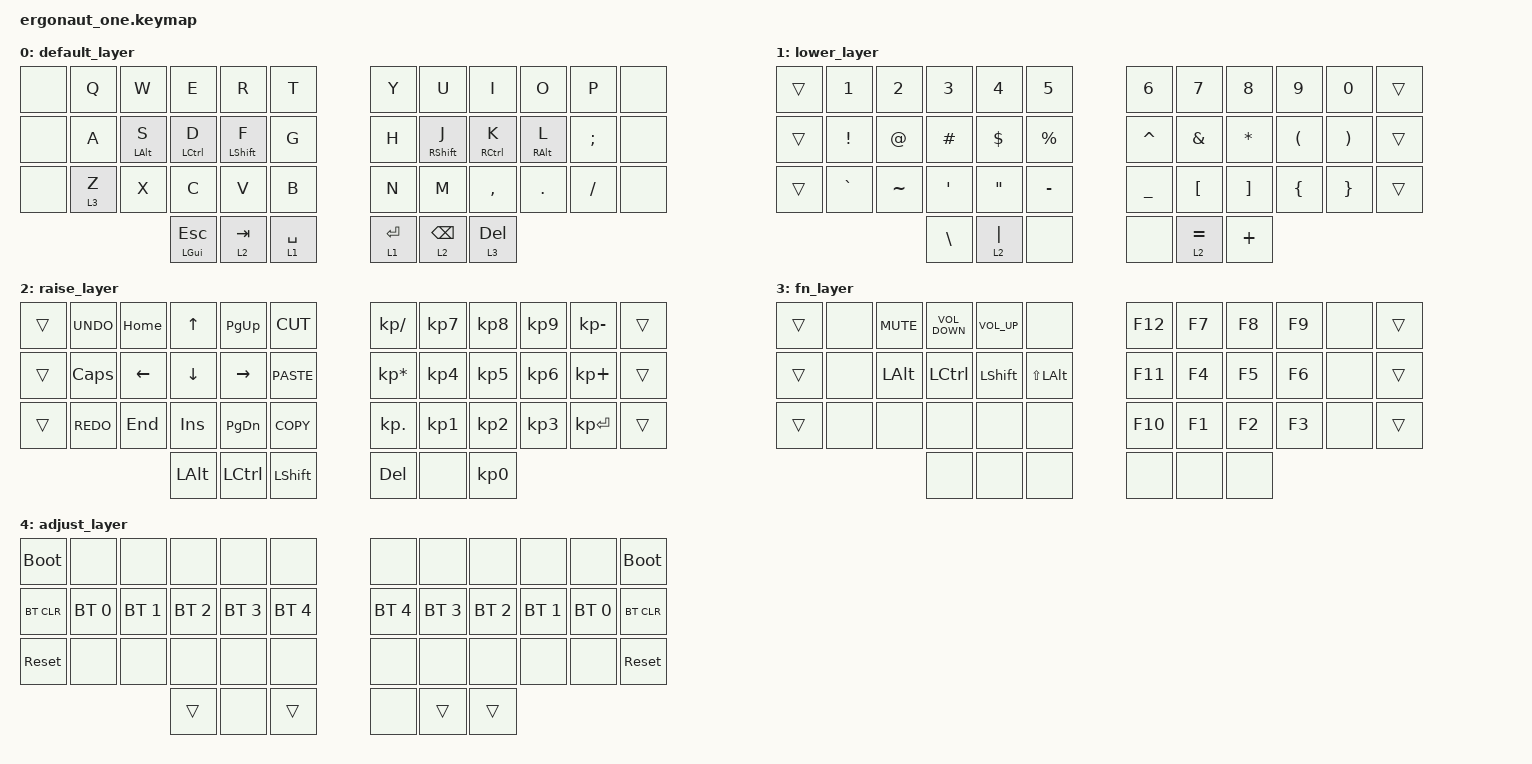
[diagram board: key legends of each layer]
#include <behaviors.dtsi>
#include <dt-bindings/zmk/bt.h>
#include <dt-bindings/zmk/keys.h>

#define DEF 0
#define LWR 1
#define RSE 2
#define ADJ 3

&lt { quick-tap-ms = <200>; };

&mt {
    quick-tap-ms = <200>;
    require-prior-idle-ms = <100>;
    flavor = "tap-preferred";
};

/ {
    conditional_layers {
        compatible = "zmk,conditional-layers";

        tri-layer {
            if-layers = <1 2>;
            then-layer = <4>;
        };
    };

    keymap {
        compatible = "zmk,keymap";

        default_layer {
            bindings = <
&none  &kp Q    &kp W       &kp E         &kp R         &kp T        &kp Y        &kp U        &kp I        &kp O       &kp P     &none
&none  &kp A    &mt LALT S  &mt LCTRL D   &mt LSHIFT F  &kp G        &kp H        &mt RSHFT J  &mt RCTRL K  &mt RALT L  &kp SEMI  &none
&none  &lt 3 Z  &kp X       &kp C         &kp V         &kp B        &kp N        &kp M        &kp COMMA    &kp DOT     &kp FSLH  &none
                            &mt LGUI ESC  &lt 2 TAB     &lt 1 SPACE  &lt 1 ENTER  &lt 2 BSPC   &lt 3 DEL
            >;
        };

        lower_layer {
            bindings = <
&trans  &kp N1     &kp N2     &kp N3    &kp N4             &kp N5     &kp N6          &kp N7       &kp N8    &kp N9          &kp N0           &trans
&trans  &kp EXCL   &kp AT     &kp HASH  &kp DLLR           &kp PRCNT  &kp CARET       &kp AMPS     &kp STAR  &kp LPAR        &kp RPAR         &trans
&trans  &kp GRAVE  &kp TILDE  &kp SQT   &kp DOUBLE_QUOTES  &kp MINUS  &kp UNDERSCORE  &kp LBKT     &kp RBKT  &kp LEFT_BRACE  &kp RIGHT_BRACE  &trans
                              &kp BSLH  &lt 2 PIPE         &none      &none           &lt 2 EQUAL  &kp PLUS
            >;
        };

        raise_layer {
            bindings = <
&trans  &kp K_UNDO  &kp HOME  &kp UP    &kp PG_UP  &kp K_CUT    &kp KP_SLASH     &kp KP_N7  &kp KP_N8  &kp KP_N9  &kp KP_MINUS  &trans
&trans  &kp CAPS    &kp LEFT  &kp DOWN  &kp RIGHT  &kp K_PASTE  &kp KP_MULTIPLY  &kp KP_N4  &kp KP_N5  &kp KP_N6  &kp KP_PLUS   &trans
&trans  &kp K_REDO  &kp END   &kp INS   &kp PG_DN  &kp K_COPY   &kp KP_DOT       &kp KP_N1  &kp KP_N2  &kp KP_N3  &kp KP_ENTER  &trans
                              &kp LALT  &kp LCTRL  &kp LSHIFT   &kp DEL          &none      &kp KP_N0
            >;
        };

        fn_layer {
            bindings = <
&trans  &none  &kp K_MUTE  &kp C_VOLUME_DOWN  &kp C_VOLUME_UP  &none         &kp F12  &kp F7  &kp F8  &kp F9  &none  &trans
&trans  &none  &kp LALT    &kp LCTRL          &kp LSHIFT       &kp LS(LALT)  &kp F11  &kp F4  &kp F5  &kp F6  &none  &trans
&trans  &none  &none       &none              &none            &none         &kp F10  &kp F1  &kp F2  &kp F3  &none  &trans
                           &none              &none            &none         &none    &none   &none
            >;
        };

        adjust_layer {
            bindings = <
&bootloader  &none         &none         &none         &none         &none         &none         &none         &none         &none         &none         &bootloader
&bt BT_CLR   &bt BT_SEL 0  &bt BT_SEL 1  &bt BT_SEL 2  &bt BT_SEL 3  &bt BT_SEL 4  &bt BT_SEL 4  &bt BT_SEL 3  &bt BT_SEL 2  &bt BT_SEL 1  &bt BT_SEL 0  &bt BT_CLR
&sys_reset   &none         &none         &none         &none         &none         &none         &none         &none         &none         &none         &sys_reset
                                         &trans        &none         &trans        &none         &trans        &trans
            >;
        };
    };
};
